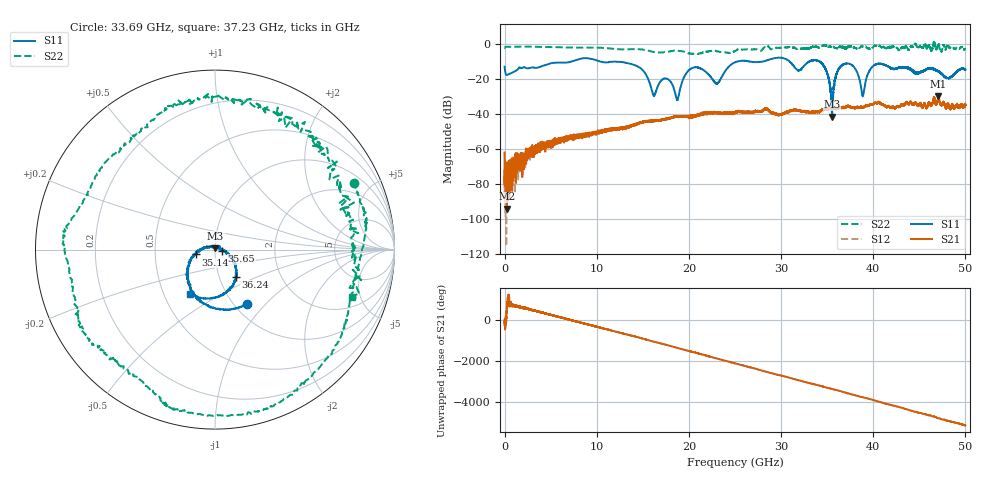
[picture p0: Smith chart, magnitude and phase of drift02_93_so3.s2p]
!Created with skrf (http://scikit-rf.org).
# Hz S RI R 50.0
!freq ReS11 ImS11 ReS21 ImS21 ReS12 ImS12 ReS22 ImS22
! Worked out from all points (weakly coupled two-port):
!   10001 points, 300 kHz to 50 GHz, reference 50 ohm
!   highest |S21| = -29.73 dB at 47.08 GHz (marker M1); lowest = -94.4 dB at 260.3 MHz (marker M2)
!   lowest |S11| = -41.5 dB at 35.53 GHz (marker M3), VSWR 1.02, Z = 50.2 + j0.822 ohm
!   |S11| at or under -10 dB: start of sweep to 7.179 GHz; 12.39 GHz to 25.18 GHz (12.79 GHz wide, 68.1 % of centre); 34.23 GHz to end of sweep (the widest 3 of 17)
!   |S22| runs from -5.7 to 2.2 dB; largest |S21 - S12| = 0.0033
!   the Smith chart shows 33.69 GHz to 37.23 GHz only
!   S11 on the Smith chart (normalised r, x): 33.69 GHz: 1.14, -0.79; 35.14 GHz: 0.81, -0.04; 35.65 GHz: 1.08, -0.01; 36.24 GHz: 1.20, -0.37; 37.23 GHz: 0.68, -0.36
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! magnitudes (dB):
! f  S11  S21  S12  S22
! 300 kHz  -12.9  -62.1  -74.8  -2.1
! 260.3 MHz  -17.6  -94.4  -73.7  -1.4
! 8.335 GHz  -8.2  -52.0  -52.4  -1.9
! 14.05 GHz  -11.8  -46.1  -46.4  -2.8
! 16.67 GHz  -23.5  -43.6  -43.5  -4.7
! 17.71 GHz  -20.0  -42.6  -42.7  -4.3
! 18.74 GHz  -32.0  -41.5  -41.6  -3.7
! 20.24 GHz  -13.9  -41.1  -41.9  -5.4
! 23.04 GHz  -22.5  -39.6  -39.3  -4.1
! 25 GHz  -10.3  -39.1  -39.3  -3.9
! 33.34 GHz  -9.3  -38.9  -38.6  -1.6
! 33.69 GHz  -9.1  -38.7  -38.5  -1.3
! 35.14 GHz  -19.1  -37.1  -37.3  -1.5
! 35.53 GHz  -41.5  -36.9  -36.7  -1.7
! 35.65 GHz  -28.5  -37.1  -36.7  -1.5
! 36.24 GHz  -14.5  -36.6  -36.8  -1.7
! 37.23 GHz  -11.0  -35.6  -35.3  -1.8
! 38.87 GHz  -29.8  -35.9  -36.0  -1.3
! 39.96 GHz  -12.7  -34.4  -34.4  -1.9
! 41.67 GHz  -12.8  -35.3  -35.7  -1.9
! 47.08 GHz  -15.6  -29.7  -30.3  1.1
! 50 GHz  -14.6  -35.0  -34.4  -2.6
